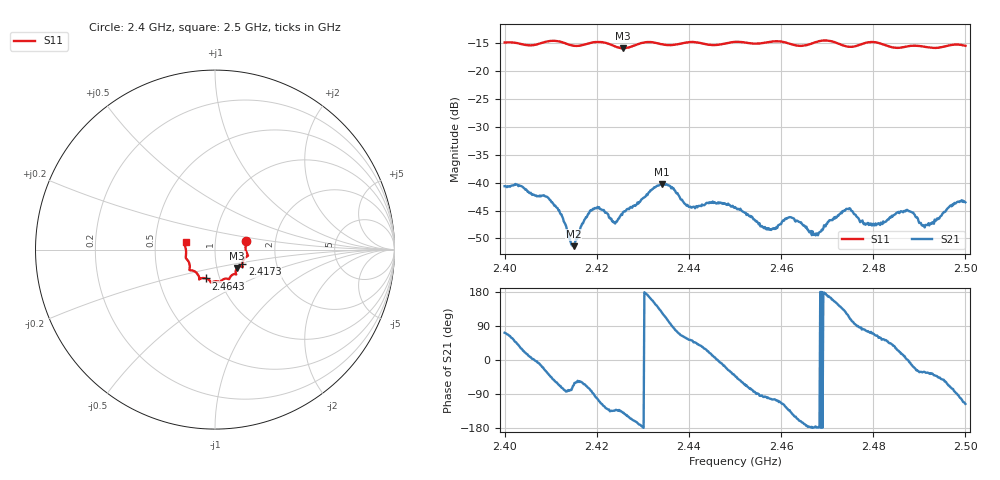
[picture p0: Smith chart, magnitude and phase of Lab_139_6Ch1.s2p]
# Hz S RI R 50
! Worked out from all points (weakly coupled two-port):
!   601 points, 2.4 GHz to 2.5 GHz, reference 50 ohm
!   highest |S21| = -40.22 dB at 2.4342 GHz (marker M1); lowest = -51.4 dB at 2.415 GHz (marker M2)
!   lowest |S11| = -15.9 dB at 2.4257 GHz (marker M3), VSWR 1.38, Z = 62.5 - j13.2 ohm
!   |S11| at or under -10 dB: start of sweep to end of sweep
!   S12 and S22 are empty: the file has one direction only
!   S11 on the Smith chart (normalised r, x): 2.4 GHz: 1.41, +0.14; 2.4173 GHz: 1.34, -0.23; 2.4643 GHz: 0.86, -0.29; 2.5 GHz: 0.72, +0.06
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2.4e9  0.1737 0.0491  0.00289 0.00884  0 0  0 0
2.4095e9  0.1828 -0.0308  0.00582 -0.00435  0 0  0 0
2.415e9  0.1592 -0.0555  0.00108 -0.00247  0 0  0 0
2.416667e9  0.1529 -0.0744  0.00219 -0.00349  0 0  0 0
2.417333e9  0.1522 -0.0818  0.00205 -0.00418  0 0  0 0
2.42e9  0.1546 -0.0971  -0.00108 -0.00581  0 0  0 0
2.423833e9  0.1385 -0.0943  -0.00305 -0.00317  0 0  0 0
2.425667e9  0.123 -0.1025  -0.0041 -0.00353  0 0  0 0
2.433333e9  0.1126 -0.1365  -0.00701 0.00626  0 0  0 0
2.434167e9  0.1077 -0.1362  -0.0055 0.00805  0 0  0 0
2.440333e9  0.0792 -0.1642  0.00368 0.00486  0 0  0 0
2.45e9  0.0292 -0.1807  0.00452 -0.00402  0 0  0 0
2.457333e9  -0.0152 -0.1815  -0.000733 -0.00383  0 0  0 0
2.461833e9  -0.029 -0.1739  -0.0033 -0.00364  0 0  0 0
2.464333e9  -0.0499 -0.1608  -0.0042 -0.00135  0 0  0 0
2.466667e9  -0.0759 -0.1597  -0.00338 -0.00022  0 0  0 0
2.4745e9  -0.1017 -0.131  -0.0028 0.0051  0 0  0 0
2.4785e9  -0.1385 -0.1154  0.000958 0.00417  0 0  0 0
2.483333e9  -0.1404 -0.0901  0.00325 0.00334  0 0  0 0
2.487667e9  -0.1587 -0.0528  0.00555 -0.000201  0 0  0 0
2.491667e9  -0.1615 -0.0285  0.00348 -0.00229  0 0  0 0
2.5e9  -0.1634 0.0419  -0.00291 -0.006  0 0  0 0
